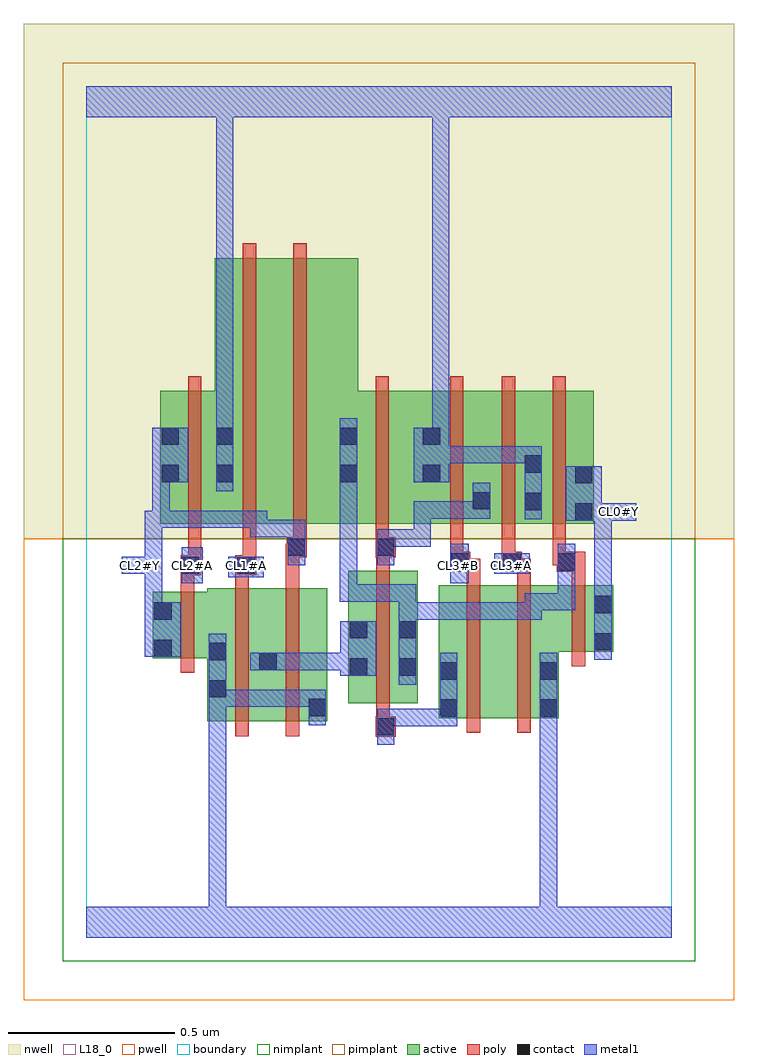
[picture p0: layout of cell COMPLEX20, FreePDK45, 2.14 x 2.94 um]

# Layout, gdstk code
import gdstk
lib = gdstk.Library(unit=1e-6, precision=1e-09)
def R(c, l, rs):  # rectangles x0, y0, x1, y1
    for r in rs: c.add(gdstk.rectangle(r[:2], r[2:], *l))
def A(c, l, x, y, w, h, nx, ny, dx, dy):  # array of equal rectangles
    R(c, l, [(x+i*dx, y+j*dy, x+i*dx+w, y+j*dy+h) for i in range(nx) for j in range(ny)])
active = (1, 0)
pwell = (2, 0)
nwell = (3, 0)
nimplant = (4, 0)
pimplant = (5, 0)
poly = (9, 0)
contact = (10, 0)
metal1 = (11, 0)
L18_0 = (18, 0)
boundary = (235, 0)

complex20 = lib.new_cell('COMPLEX20')
R(complex20, active, [(0.364,0.65,0.576,1.05), (0.364,0.65,0.424,0.984), (0.516,0.65,0.724,1.05), (0.516,0.65,0.576,1.04), (0.664,0.65,0.724,1.05), (1.06,0.66,1.24,1.06), (1.06,0.66,1.12,1.06), (1.24,0.66,1.42,1.06), (1.36,0.66,1.42,1.028), (0.788,0.704,0.996,1.104), (0.788,0.756,0.848,1.104), (0.936,0.756,0.996,1.104), (0.2,0.84,0.26,1.04), (0.2,0.84,0.424,1.04), (1.36,0.86,1.584,1.06), (1.524,0.86,1.584,1.06), (0.222,1.244,0.282,1.644), (0.222,1.244,0.446,1.644), (0.386,1.244,0.446,1.644), (0.386,1.244,0.566,2.044), (0.566,1.244,0.818,2.044), (0.758,1.244,1.068,1.644), (1.008,1.244,1.218,1.644), (1.158,1.244,1.374,1.644), (1.314,1.244,1.526,1.644), (1.466,1.244,1.526,1.644), (1.314,1.282,1.374,1.644), (1.158,1.284,1.218,1.644), (0.758,1.366,0.818,1.644), (1.008,1.366,1.068,1.644)])
R(complex20, pwell, [(-0.188,-0.188,1.948,1.2)])
R(complex20, nwell, [(-0.188,1.2,1.948,2.748)])
R(complex20, nimplant, [(-0.072,-0.072,1.832,1.2)])
R(complex20, pimplant, [(-0.072,1.2,1.832,2.632)])
R(complex20, poly, [(0.87,0.604,0.93,0.664), (0.448,0.606,0.488,1.094), (0.6,0.606,0.64,1.094), (1.144,0.616,1.184,1.104), (1.296,0.616,1.336,1.104), (0.872,0.624,0.912,0.7), (0.872,0.66,0.912,1.148), (0.284,0.796,0.324,1.084), (1.46,0.816,1.5,1.104), (0.284,1.044,0.324,1.13), (0.448,1.054,0.488,1.13), (0.6,1.054,0.64,1.184), (1.144,1.064,1.184,1.14), (1.296,1.064,1.336,1.14), (1.46,1.064,1.5,1.14), (0.284,1.09,0.344,1.15), (0.448,1.09,0.51,1.15), (1.094,1.1,1.154,1.16), (1.114,1.1,1.154,1.14), (1.114,1.1,1.184,1.14), (1.25,1.1,1.31,1.16), (1.27,1.1,1.31,1.14), (1.27,1.1,1.336,1.14), (1.414,1.1,1.5,1.16), (0.872,1.108,0.912,1.184), (0.304,1.11,0.344,1.15), (0.304,1.11,0.346,1.15), (0.306,1.11,0.346,1.24), (0.47,1.11,0.51,1.15), (0.47,1.11,0.51,1.15), (0.47,1.11,0.51,1.24), (1.094,1.12,1.134,1.24), (1.25,1.12,1.29,1.24), (1.402,1.12,1.442,1.24), (1.402,1.12,1.454,1.16), (1.414,1.12,1.454,1.16), (0.6,1.144,0.642,1.184), (0.602,1.144,0.642,1.184), (0.602,1.144,0.662,1.204), (0.87,1.144,0.93,1.204), (0.872,1.144,0.912,1.184), (0.872,1.144,0.912,1.184), (0.622,1.164,0.662,1.24), (0.87,1.164,0.91,1.24), (0.306,1.2,0.346,1.688), (0.47,1.2,0.51,2.088), (0.622,1.2,0.662,2.088), (0.87,1.2,0.91,1.688), (1.094,1.2,1.134,1.688), (1.25,1.2,1.29,1.688), (1.402,1.2,1.442,1.688)])
R(complex20, contact, [(0.874,0.608,0.926,0.66), (1.064,0.664,1.116,0.716), (1.364,0.664,1.416,0.716), (0.668,0.666,0.72,0.718), (0.368,0.722,0.42,0.774), (1.064,0.776,1.116,0.828), (1.364,0.776,1.416,0.828), (0.792,0.788,0.844,0.84), (0.94,0.788,0.992,0.84), (0.52,0.804,0.572,0.856), (0.368,0.834,0.42,0.886), (0.204,0.844,0.256,0.896), (1.528,0.864,1.58,0.916), (0.792,0.9,0.844,0.952), (0.94,0.9,0.992,0.952), (0.204,0.956,0.256,1.008), (1.528,0.976,1.58,1.028), (0.288,1.094,0.34,1.146), (0.454,1.094,0.506,1.146), (1.098,1.104,1.15,1.156), (1.254,1.104,1.306,1.156), (1.418,1.104,1.47,1.156), (0.606,1.148,0.658,1.2), (0.874,1.148,0.926,1.2), (1.47,1.254,1.522,1.306), (1.318,1.286,1.37,1.338), (1.162,1.288,1.214,1.34), (1.47,1.366,1.522,1.418), (0.226,1.37,0.278,1.422), (0.39,1.37,0.442,1.422), (0.762,1.37,0.814,1.422), (1.012,1.37,1.064,1.422), (1.318,1.398,1.37,1.45), (0.226,1.482,0.278,1.534), (0.39,1.482,0.442,1.534), (0.762,1.482,0.814,1.534), (1.012,1.482,1.064,1.534)])
R(complex20, metal1, [(0,0,1.76,0.092), (0.368,0.04,0.42,0.092), (0.368,0.04,0.42,0.092), (0.368,0.04,0.42,0.092), (0.368,0.04,0.42,0.092), (0.368,0.04,0.42,0.092), (0.368,0.04,0.42,0.092), (0.368,0.04,0.42,0.092), (0.368,0.04,0.42,0.092), (0.368,0.04,0.42,0.092), (0.368,0.04,0.42,0.092), (0.368,0.04,0.42,0.092), (0.368,0.04,0.42,0.092), (0.368,0.04,0.42,0.746), (1.364,0.04,1.416,0.092), (1.364,0.04,1.416,0.092), (1.364,0.04,1.416,0.092), (1.364,0.04,1.416,0.092), (1.364,0.04,1.416,0.092), (1.364,0.04,1.416,0.092), (1.364,0.04,1.416,0.092), (1.364,0.04,1.416,0.092), (1.364,0.04,1.416,0.092), (1.364,0.04,1.416,0.092), (1.364,0.04,1.416,0.092), (1.364,0.04,1.416,0.092), (1.364,0.04,1.416,0.688), (0.874,0.58,0.926,0.688), (0.874,0.636,0.926,0.688), (0.874,0.636,0.926,0.688), (0.874,0.636,1.116,0.688), (1.064,0.636,1.116,0.688), (1.064,0.636,1.116,0.688), (1.064,0.636,1.116,0.856), (1.364,0.636,1.416,0.856), (0.668,0.638,0.72,0.746), (0.368,0.694,0.42,0.746), (0.368,0.694,0.42,0.746), (0.368,0.694,0.42,0.914), (0.368,0.694,0.544,0.746), (0.492,0.694,0.544,0.746), (0.492,0.694,0.544,0.746), (0.492,0.694,0.544,0.746), (0.492,0.694,0.72,0.746), (0.94,0.76,0.992,0.98), (0.764,0.788,0.872,0.952), (0.492,0.804,0.6,0.856), (0.548,0.804,0.6,0.856), (0.548,0.804,0.6,0.856), (0.548,0.804,0.816,0.856), (0.764,0.804,0.816,0.856), (0.764,0.804,0.816,0.856), (1.528,0.836,1.58,1.056), (0.176,0.844,0.284,1.008), (0.94,0.928,0.992,1.008), (0.176,0.956,0.228,1.146), (0.94,0.956,1.036,1.008), (0.94,0.956,0.992,1.062), (0.984,0.956,1.036,1.008), (0.984,0.956,1.146,1.008), (1.094,0.956,1.146,1.008), (1.094,0.956,1.202,1.008), (1.15,0.956,1.202,1.008), (1.15,0.956,1.256,1.008), (1.204,0.956,1.256,1.008), (1.204,0.956,1.37,1.008), (1.318,0.956,1.37,1.036), (1.318,0.984,1.47,1.036), (1.418,0.984,1.47,1.184), (1.528,1.004,1.58,1.306), (0.762,1.01,0.814,1.062), (0.762,1.01,0.926,1.062), (0.762,1.01,0.814,1.394), (0.874,1.01,0.926,1.062), (0.874,1.01,0.992,1.062), (0.286,1.066,0.35,1.174), (1.094,1.066,1.15,1.184), (0.426,1.084,0.534,1.146), (0.106,1.094,0.228,1.146), (0.176,1.094,0.228,1.284), (1.226,1.094,1.334,1.156), (0.606,1.12,0.658,1.256), (0.874,1.12,0.926,1.228), (0.874,1.176,1.036,1.228), (0.984,1.176,1.036,1.228), (0.984,1.176,1.036,1.228), (0.984,1.176,1.036,1.228), (0.984,1.176,1.036,1.312), (0.492,1.204,0.658,1.256), (0.492,1.204,0.544,1.284), (0.176,1.232,0.25,1.284), (0.198,1.232,0.25,1.284), (0.198,1.232,0.25,1.284), (0.198,1.232,0.434,1.284), (0.198,1.232,0.25,1.422), (0.382,1.232,0.434,1.284), (0.382,1.232,0.434,1.284), (0.382,1.232,0.434,1.284), (0.382,1.232,0.544,1.284), (1.442,1.254,1.55,1.418), (1.498,1.254,1.55,1.306), (1.498,1.254,1.58,1.306), (1.528,1.254,1.58,1.306), (1.528,1.254,1.654,1.306), (1.318,1.258,1.37,1.478), (0.984,1.26,1.036,1.312), (0.984,1.26,1.146,1.312), (1.094,1.26,1.146,1.312), (1.094,1.26,1.214,1.312), (1.162,1.26,1.214,1.368), (0.39,1.342,0.442,1.562), (0.762,1.342,0.814,1.394), (0.762,1.342,0.814,1.394), (0.762,1.342,0.814,1.562), (0.198,1.37,0.306,1.534), (0.984,1.37,1.092,1.534), (1.04,1.426,1.146,1.478), (1.094,1.426,1.146,1.478), (1.094,1.426,1.26,1.478), (1.208,1.426,1.26,1.478), (1.208,1.426,1.36,1.478), (1.308,1.426,1.36,1.478), (1.308,1.426,1.37,1.478), (1.04,1.482,1.092,1.534), (1.04,1.482,1.092,1.534), (1.04,1.482,1.092,1.534), (1.04,1.482,1.092,1.534), (1.04,1.482,1.092,1.534), (1.04,1.482,1.092,1.534), (1.04,1.482,1.092,2.52), (0.39,1.51,0.442,2.52), (0,2.468,1.76,2.56), (0.39,2.468,0.442,2.52), (0.39,2.468,0.442,2.52), (0.39,2.468,0.442,2.52), (0.39,2.468,0.442,2.52), (0.39,2.468,0.442,2.52), (0.39,2.468,0.442,2.52), (0.39,2.468,0.442,2.52), (0.39,2.468,0.442,2.52), (1.04,2.468,1.092,2.52), (1.04,2.468,1.092,2.52), (1.04,2.468,1.092,2.52), (1.04,2.468,1.092,2.52), (1.04,2.468,1.092,2.52), (1.04,2.468,1.092,2.52), (1.04,2.468,1.092,2.52), (1.04,2.468,1.092,2.52), (1.04,2.468,1.092,2.52), (1.04,2.468,1.092,2.52)])
A(complex20, L18_0, 0.134, 1.094, 0.052, 0.052, 3, 1, 0.16, 0)
R(complex20, L18_0, [(0,0,1.76,0.092), (0.368,0.04,0.42,0.092), (0.368,0.04,0.42,0.092), (0.368,0.04,0.42,0.092), (0.368,0.04,0.42,0.092), (0.368,0.04,0.42,0.092), (0.368,0.04,0.42,0.092), (0.368,0.04,0.42,0.092), (0.368,0.04,0.42,0.092), (0.368,0.04,0.42,0.092), (0.368,0.04,0.42,0.092), (0.368,0.04,0.42,0.092), (0.368,0.04,0.42,0.092), (0.368,0.04,0.42,0.746), (1.364,0.04,1.416,0.092), (1.364,0.04,1.416,0.092), (1.364,0.04,1.416,0.092), (1.364,0.04,1.416,0.092), (1.364,0.04,1.416,0.092), (1.364,0.04,1.416,0.092), (1.364,0.04,1.416,0.092), (1.364,0.04,1.416,0.092), (1.364,0.04,1.416,0.092), (1.364,0.04,1.416,0.092), (1.364,0.04,1.416,0.092), (1.364,0.04,1.416,0.092), (1.364,0.04,1.416,0.688), (1.364,0.636,1.416,0.856), (0.668,0.638,0.72,0.746), (0.368,0.694,0.42,0.746), (0.368,0.694,0.42,0.746), (0.368,0.694,0.42,0.914), (0.368,0.694,0.544,0.746), (0.492,0.694,0.544,0.746), (0.492,0.694,0.544,0.746), (0.492,0.694,0.544,0.746), (0.492,0.694,0.72,0.746), (1.528,0.836,1.58,1.056), (0.176,0.844,0.284,1.008), (0.176,0.956,0.228,1.146), (1.528,1.004,1.58,1.306), (0.286,1.066,0.35,1.174), (1.094,1.066,1.15,1.184), (0.426,1.084,0.534,1.146), (0.106,1.094,0.228,1.146), (0.176,1.094,0.228,1.284), (1.094,1.094,1.146,1.146), (1.226,1.094,1.334,1.156), (1.254,1.094,1.306,1.146), (0.606,1.12,0.658,1.256), (0.492,1.204,0.544,1.284), (0.492,1.204,0.658,1.256), (0.176,1.232,0.25,1.284), (0.198,1.232,0.25,1.422), (0.198,1.232,0.25,1.284), (0.198,1.232,0.25,1.284), (0.198,1.232,0.434,1.284), (0.382,1.232,0.434,1.284), (0.382,1.232,0.434,1.284), (0.382,1.232,0.434,1.284), (0.382,1.232,0.544,1.284), (1.442,1.254,1.55,1.418), (1.498,1.254,1.55,1.306), (1.498,1.254,1.58,1.306), (1.528,1.254,1.58,1.306), (1.528,1.254,1.654,1.306), (1.574,1.254,1.626,1.306), (1.318,1.258,1.37,1.478), (0.39,1.342,0.442,1.562), (0.198,1.37,0.306,1.534), (0.984,1.37,1.092,1.534), (1.04,1.426,1.146,1.478), (1.094,1.426,1.146,1.478), (1.094,1.426,1.26,1.478), (1.208,1.426,1.26,1.478), (1.208,1.426,1.36,1.478), (1.308,1.426,1.36,1.478), (1.308,1.426,1.37,1.478), (1.04,1.482,1.092,1.534), (1.04,1.482,1.092,1.534), (1.04,1.482,1.092,1.534), (1.04,1.482,1.092,1.534), (1.04,1.482,1.092,1.534), (1.04,1.482,1.092,1.534), (1.04,1.482,1.092,2.52), (0.39,1.51,0.442,2.52), (0,2.468,1.76,2.56), (0.39,2.468,0.442,2.52), (0.39,2.468,0.442,2.52), (0.39,2.468,0.442,2.52), (0.39,2.468,0.442,2.52), (0.39,2.468,0.442,2.52), (0.39,2.468,0.442,2.52), (0.39,2.468,0.442,2.52), (0.39,2.468,0.442,2.52), (1.04,2.468,1.092,2.52), (1.04,2.468,1.092,2.52), (1.04,2.468,1.092,2.52), (1.04,2.468,1.092,2.52), (1.04,2.468,1.092,2.52), (1.04,2.468,1.092,2.52), (1.04,2.468,1.092,2.52), (1.04,2.468,1.092,2.52), (1.04,2.468,1.092,2.52), (1.04,2.468,1.092,2.52)])
R(complex20, boundary, [(0,0,1.76,2.56)])
complex20.add(gdstk.Label('CL0#Y', (1.6,1.28), layer=11, texttype=0))
complex20.add(gdstk.Label('CL1#A', (0.48,1.12), layer=11, texttype=0))
complex20.add(gdstk.Label('CL2#A', (0.32,1.12), layer=11, texttype=0))
complex20.add(gdstk.Label('CL2#Y', (0.16,1.12), layer=11, texttype=0))
complex20.add(gdstk.Label('CL3#A', (1.28,1.12), layer=11, texttype=0))
complex20.add(gdstk.Label('CL3#B', (1.12,1.12), layer=11, texttype=0))

lib.write_gds('COMPLEX20.gds')
